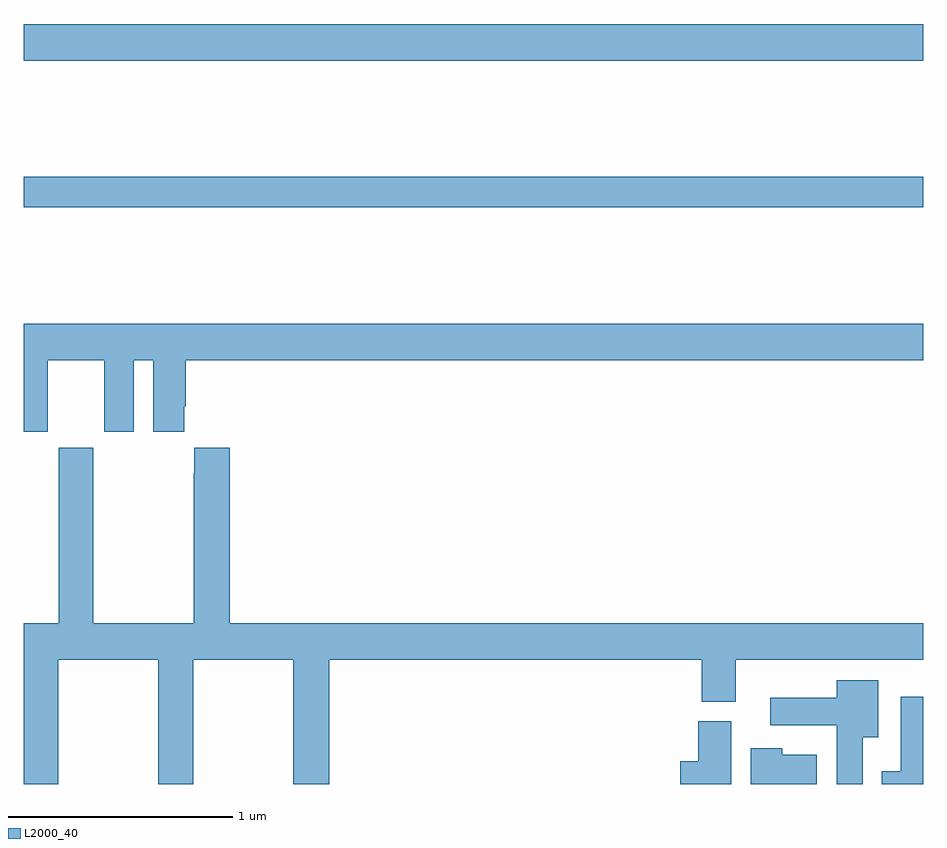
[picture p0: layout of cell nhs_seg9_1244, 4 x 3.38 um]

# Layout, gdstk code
import gdstk
lib = gdstk.Library(unit=1e-6, precision=1e-09)
def R(c, l, rs):  # rectangles x0, y0, x1, y1
    for r in rs: c.add(gdstk.rectangle(r[:2], r[2:], *l))
def P(c, l, *ps):  # polygons
    for p in ps: c.add(gdstk.Polygon(p, *l))
L2000_40 = (2000, 40)

nhs_seg9_1244 = lib.new_cell('nhs_seg9_1244')
R(nhs_seg9_1244, L2000_40, [(179,1233.064,183,1233.2), (179,1233.716,183,1233.88)])
P(nhs_seg9_1244, L2000_40, [(179.107,1232.384),(179.357,1232.384),(179.357,1232.067),(179.488,1232.067),(179.488,1232.384),(179.576,1232.384),(179.576,1232.067),(179.713,1232.067),(179.713,1232.179),(179.72,1232.179),(179.72,1232.384),(183,1232.384),(183,1232.548),(179,1232.548),(179,1232.067),(179.107,1232.067)],
  [(179.154,1231.052),(179.599,1231.052),(179.599,1230.5),(179.754,1230.5),(179.754,1231.052),(180.199,1231.052),(180.199,1230.5),(180.359,1230.5),(180.359,1231.052),(182.015,1231.052),(182.015,1230.865),(182.167,1230.865),(182.167,1231.052),(183,1231.052),(183,1231.216),(179.915,1231.216),(179.915,1231.996),(179.759,1231.996),(179.759,1231.883),(179.755,1231.883),(179.755,1231.216),(179.31,1231.216),(179.31,1231.996),(179.155,1231.996),(179.155,1231.216),(179,1231.216),(179,1230.5),(179.154,1230.5)],
  [(182.731,1230.707),(182.8,1230.707),(182.8,1230.961),(182.615,1230.961),(182.615,1230.883),(182.319,1230.883),(182.319,1230.761),(182.615,1230.761),(182.615,1230.5),(182.731,1230.5)],
  [(183,1230.889),(182.9,1230.889),(182.9,1230.556),(182.816,1230.556),(182.816,1230.5),(183,1230.5)],
  [(182.146,1230.78),(182,1230.78),(182,1230.601),(181.919,1230.601),(181.919,1230.5),(182.146,1230.5)],
  [(182.527,1230.631),(182.373,1230.631),(182.373,1230.658),(182.234,1230.658),(182.234,1230.5),(182.527,1230.5)])

lib.write_gds('nhs_seg9_1244.gds')
